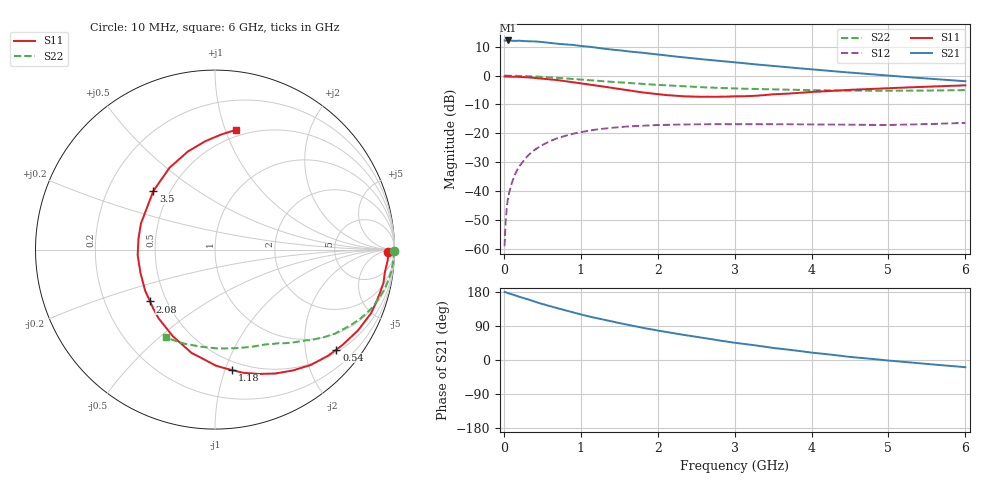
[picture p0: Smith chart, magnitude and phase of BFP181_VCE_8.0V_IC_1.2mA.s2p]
! Infineon Technologies  Discrete & RF Semiconductors
! BFP181
! VCE = 8.0 V,  IC =  1.2 mA
! Common Emitter S-Parameters:  Jan 2016
# GHz  S  MA  R  50
!  f  S11  S21  S12  S22
! GHz  MAG  ANG  MAG  ANG  MAG  ANG  MAG  ANG
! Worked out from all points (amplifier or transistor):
!   210 points, 10 MHz to 6 GHz, reference 50 ohm
!   highest |S21| = 12.2 dB at 50 MHz (marker M1)
!   |S21| within 3 dB of that: start of sweep to 1.346 GHz
!   unconditionally stable (mu >= 1): 3.021 GHz to end of sweep
!   at 185 MHz: K = 0.08, MSG = 22.1 dB, |S12| = -32.2 dB
!   at 1.52 GHz: K = 0.55, MSG = 13.3 dB, |S12| = -17.8 dB
!   at 6 GHz: K = 1.24, MAG = 4.3 dB, |S12| = -16.4 dB
!   S11 on the Smith chart (normalised r, x): 10 MHz: 49, -19; 540 MHz: 0.56, -2.68; 1.18 GHz: 0.43, -1.06; 2.08 GHz: 0.41, -0.30; 3.5 GHz: 0.41, +0.34; 6 GHz: 0.44, +1.09
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0.01  0.9649 -0.8  4.064 179.4  0.0011 88.7  0.9985 -0.3
0.025  0.9654 -1.8  4.043 178.7  0.0031 90.7  0.9975 -1.0
0.05  0.9643 -3.5  4.073 176.7  0.0069 92.5  0.996 -1.8
0.11  0.9549 -8.1  4.022 172.9  0.0146 83.8  0.9947 -3.8
0.2  0.9502 -14.7  4.036 166.9  0.0266 80.3  0.9898 -7.1
0.4  0.9151 -29.5  3.925 153.9  0.0514 70.6  0.9673 -13.7
0.54  0.876 -39.5  3.774 145.4  0.0666 64.2  0.9435 -18.2
0.8  0.8009 -57.2  3.496 130.7  0.0906 54.0  0.8963 -25.4
0.9  0.7686 -63.9  3.405 125.2  0.0983 50.2  0.8748 -28.0
1.02  0.7281 -71.8  3.254 119.2  0.1058 45.8  0.8497 -30.8
1.18  0.6783 -81.9  3.078 111.7  0.115 40.7  0.8204 -34.4
1.56  0.5718 -106.3  2.687 95.1  0.1297 31.3  0.7545 -41.1
1.8  0.5116 -122.8  2.493 85.1  0.1352 26.4  0.7161 -44.9
2.02  0.4721 -137.5  2.31 77.1  0.1391 22.3  0.6886 -48.2
2.08  0.4632 -141.4  2.259 75.1  0.1398 21.2  0.6819 -49.1
2.58  0.4312 -174.6  1.921 58.7  0.1432 14.4  0.6286 -56.1
3.1  0.4382 155.6  1.65 43.1  0.1437 9.0  0.5935 -63.5
3.5  0.4741 136.4  1.474 31.8  0.1442 6.1  0.5785 -69.5
4.1  0.5284 116.1  1.252 17.5  0.1418 3.1  0.5577 -80.2
4.5  0.5673 105.4  1.129 8.1  0.1404 1.8  0.5513 -88.2
5.1  0.6126 93.4  0.977 -3.2  0.1402 2.2  0.5462 -100.3
6  0.6782 79.9  0.798 -19.1  0.1515 3.1  0.5616 -119.4
